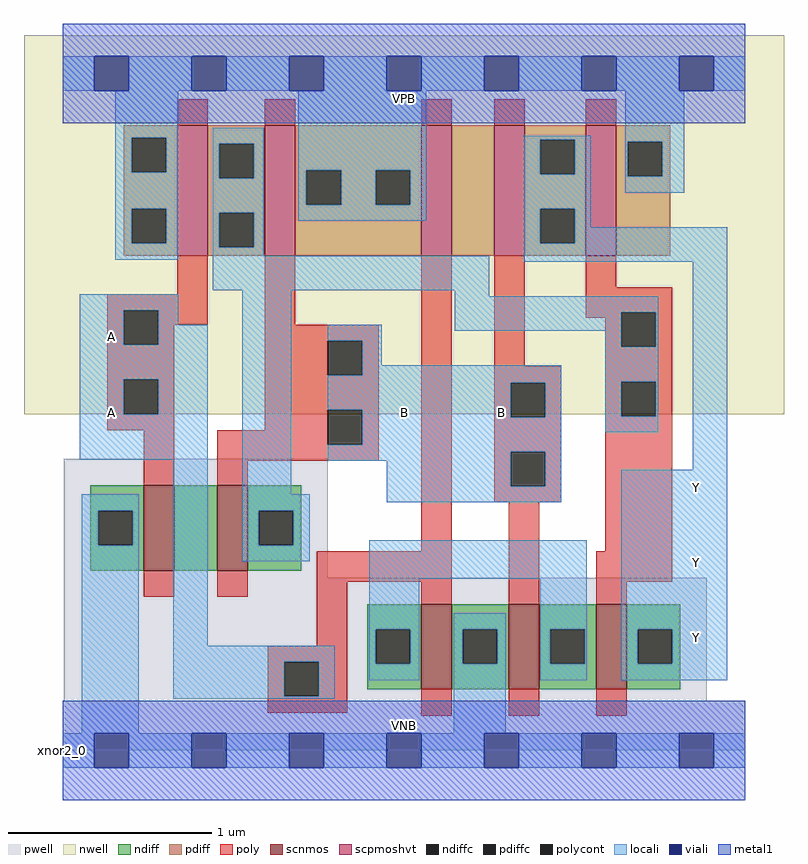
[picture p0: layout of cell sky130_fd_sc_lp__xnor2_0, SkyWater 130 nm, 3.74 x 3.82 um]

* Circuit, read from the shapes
.subckt sky130_fd_sc_lp__xnor2_0 A B VGND VNB VPB VPWR Y
XM1 n1 A VGND VNB sky130_fd_pr__nfet_01v8 w=0.42 l=0.15
XM2 n2 B n1 VNB sky130_fd_pr__nfet_01v8 w=0.42 l=0.15
XM3 VGND A n3 VNB sky130_fd_pr__nfet_01v8 w=0.42 l=0.15
XM4 n3 B VGND VNB sky130_fd_pr__nfet_01v8 w=0.42 l=0.15
XM5 Y n2 n3 VNB sky130_fd_pr__nfet_01v8 w=0.42 l=0.15
XM6 n2 A VPWR VPB sky130_fd_pr__pfet_01v8_hvt w=0.64 l=0.15
XM7 VPWR B n2 VPB sky130_fd_pr__pfet_01v8_hvt w=0.64 l=0.15
XM8 n4 A VPWR VPB sky130_fd_pr__pfet_01v8_hvt w=0.64 l=0.15
XM9 Y B n4 VPB sky130_fd_pr__pfet_01v8_hvt w=0.64 l=0.15
XM10 VPWR n2 Y VPB sky130_fd_pr__pfet_01v8_hvt w=0.64 l=0.15
.ends

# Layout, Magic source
magic
tech sky130A
magscale 1 2
<< nwell >>
rect -38 331 710 704
<< pwell >>
rect 1 170 261 287
rect 1 49 634 170
rect 0 0 672 49
<< scnmos >>
rect 80 177 110 261
rect 152 177 182 261
rect 353 60 383 144
rect 439 60 469 144
rect 525 60 555 144
<< scpmoshvt >>
rect 113 487 143 615
rect 199 487 229 615
rect 353 487 383 615
rect 425 487 455 615
rect 515 487 545 615
<< ndiff >>
rect 27 236 80 261
rect 27 202 35 236
rect 69 202 80 236
rect 27 177 80 202
rect 110 177 152 261
rect 182 236 235 261
rect 182 202 193 236
rect 227 202 235 236
rect 182 177 235 202
rect 300 119 353 144
rect 300 85 308 119
rect 342 85 353 119
rect 300 60 353 85
rect 383 119 439 144
rect 383 85 394 119
rect 428 85 439 119
rect 383 60 439 85
rect 469 119 525 144
rect 469 85 480 119
rect 514 85 525 119
rect 469 60 525 85
rect 555 119 608 144
rect 555 85 566 119
rect 600 85 608 119
rect 555 60 608 85
<< pdiff >>
rect 60 603 113 615
rect 60 569 68 603
rect 102 569 113 603
rect 60 533 113 569
rect 60 499 68 533
rect 102 499 113 533
rect 60 487 113 499
rect 143 597 199 615
rect 143 563 154 597
rect 188 563 199 597
rect 143 529 199 563
rect 143 495 154 529
rect 188 495 199 529
rect 143 487 199 495
rect 229 571 353 615
rect 229 537 240 571
rect 274 537 308 571
rect 342 537 353 571
rect 229 487 353 537
rect 383 487 425 615
rect 455 601 515 615
rect 455 567 470 601
rect 504 567 515 601
rect 455 533 515 567
rect 455 499 470 533
rect 504 499 515 533
rect 455 487 515 499
rect 545 599 598 615
rect 545 565 556 599
rect 590 565 598 599
rect 545 487 598 565
<< ndiffc >>
rect 35 202 69 236
rect 193 202 227 236
rect 308 85 342 119
rect 394 85 428 119
rect 480 85 514 119
rect 566 85 600 119
<< pdiffc >>
rect 68 569 102 603
rect 68 499 102 533
rect 154 563 188 597
rect 154 495 188 529
rect 240 537 274 571
rect 308 537 342 571
rect 470 567 504 601
rect 470 499 504 533
rect 556 565 590 599
<< poly >>
rect 113 615 143 641
rect 199 615 229 641
rect 353 615 383 641
rect 425 615 455 641
rect 515 615 545 641
rect 113 449 143 487
rect 44 433 143 449
rect 44 399 60 433
rect 94 419 143 433
rect 199 419 229 487
rect 94 399 110 419
rect 44 365 110 399
rect 44 331 60 365
rect 94 331 110 365
rect 44 315 110 331
rect 199 403 311 419
rect 199 369 261 403
rect 295 369 311 403
rect 199 335 311 369
rect 199 315 261 335
rect 80 261 110 315
rect 152 301 261 315
rect 295 301 311 335
rect 152 285 311 301
rect 152 261 182 285
rect 353 196 383 487
rect 425 378 455 487
rect 515 456 545 487
rect 515 431 600 456
rect 515 426 550 431
rect 534 397 550 426
rect 584 397 600 431
rect 425 362 491 378
rect 425 328 441 362
rect 475 328 491 362
rect 425 294 491 328
rect 425 260 441 294
rect 475 260 491 294
rect 425 244 491 260
rect 534 363 600 397
rect 534 329 550 363
rect 584 329 600 363
rect 80 151 110 177
rect 152 151 182 177
rect 250 166 383 196
rect 250 103 280 166
rect 353 144 383 166
rect 439 144 469 244
rect 534 196 600 329
rect 525 166 600 196
rect 525 144 555 166
rect 202 87 280 103
rect 202 53 218 87
rect 252 53 280 87
rect 202 37 280 53
rect 353 34 383 60
rect 439 34 469 60
rect 525 34 555 60
<< polycont >>
rect 60 399 94 433
rect 60 331 94 365
rect 261 369 295 403
rect 261 301 295 335
rect 550 397 584 431
rect 441 328 475 362
rect 441 260 475 294
rect 550 329 584 363
rect 218 53 252 87
<< locali >>
rect 0 649 31 683
rect 65 649 127 683
rect 161 649 223 683
rect 257 649 319 683
rect 353 649 415 683
rect 449 649 511 683
rect 545 649 607 683
rect 641 649 672 683
rect 52 603 114 649
rect 52 569 68 603
rect 102 569 114 603
rect 52 533 114 569
rect 52 499 68 533
rect 102 499 114 533
rect 52 483 114 499
rect 148 597 198 613
rect 148 563 154 597
rect 188 563 198 597
rect 148 529 198 563
rect 148 495 154 529
rect 188 495 198 529
rect 232 571 358 649
rect 232 537 240 571
rect 274 537 308 571
rect 342 537 358 571
rect 232 521 358 537
rect 454 601 520 605
rect 454 567 470 601
rect 504 567 520 601
rect 454 533 520 567
rect 554 599 612 649
rect 554 565 556 599
rect 590 565 612 599
rect 554 549 612 565
rect 148 487 198 495
rect 454 499 470 533
rect 504 515 520 533
rect 504 499 654 515
rect 148 453 420 487
rect 454 481 654 499
rect 17 433 114 449
rect 17 399 60 433
rect 94 419 114 433
rect 94 399 143 419
rect 17 365 143 399
rect 17 331 60 365
rect 94 331 143 365
rect 17 286 143 331
rect 19 236 75 252
rect 19 202 35 236
rect 69 202 75 236
rect 19 17 75 202
rect 109 103 143 286
rect 177 252 225 453
rect 386 447 420 453
rect 386 431 586 447
rect 261 403 314 419
rect 386 413 550 431
rect 295 379 314 403
rect 534 397 550 413
rect 584 397 586 431
rect 295 369 491 379
rect 261 362 491 369
rect 261 335 441 362
rect 295 328 441 335
rect 475 328 491 362
rect 295 301 491 328
rect 534 363 586 397
rect 534 329 550 363
rect 584 329 586 363
rect 534 313 586 329
rect 261 294 491 301
rect 261 285 441 294
rect 319 260 441 285
rect 475 260 491 294
rect 620 276 654 481
rect 177 236 243 252
rect 319 244 491 260
rect 177 202 193 236
rect 227 202 243 236
rect 177 186 243 202
rect 302 169 516 207
rect 302 119 351 169
rect 109 87 268 103
rect 109 53 218 87
rect 252 53 268 87
rect 302 85 308 119
rect 342 85 351 119
rect 302 69 351 85
rect 385 119 436 135
rect 385 85 394 119
rect 428 85 436 119
rect 109 51 268 53
rect 385 17 436 85
rect 470 119 516 169
rect 470 85 480 119
rect 514 85 516 119
rect 470 69 516 85
rect 550 119 654 276
rect 550 85 566 119
rect 600 85 654 119
rect 550 69 654 85
rect 0 -17 31 17
rect 65 -17 127 17
rect 161 -17 223 17
rect 257 -17 319 17
rect 353 -17 415 17
rect 449 -17 511 17
rect 545 -17 607 17
rect 641 -17 672 17
<< viali >>
rect 31 649 65 683
rect 127 649 161 683
rect 223 649 257 683
rect 319 649 353 683
rect 415 649 449 683
rect 511 649 545 683
rect 607 649 641 683
rect 31 -17 65 17
rect 127 -17 161 17
rect 223 -17 257 17
rect 319 -17 353 17
rect 415 -17 449 17
rect 511 -17 545 17
rect 607 -17 641 17
<< metal1 >>
rect 0 683 672 715
rect 0 649 31 683
rect 65 649 127 683
rect 161 649 223 683
rect 257 649 319 683
rect 353 649 415 683
rect 449 649 511 683
rect 545 649 607 683
rect 641 649 672 683
rect 0 617 672 649
rect 0 17 672 49
rect 0 -17 31 17
rect 65 -17 127 17
rect 161 -17 223 17
rect 257 -17 319 17
rect 353 -17 415 17
rect 449 -17 511 17
rect 545 -17 607 17
rect 641 -17 672 17
rect 0 -49 672 -17
<< labels >>
flabel pwell s 0 0 672 49 0 FreeSans 200 0 0 0 VNB
port 4 nsew ground bidirectional
flabel nwell s 0 617 672 666 0 FreeSans 200 0 0 0 VPB
port 5 nsew power bidirectional
rlabel comment s 0 0 0 0 4 xnor2_0
flabel metal1 s 0 617 672 666 0 FreeSans 340 0 0 0 VPWR
port 6 nsew power bidirectional
flabel metal1 s 0 0 672 49 0 FreeSans 340 0 0 0 VGND
port 3 nsew ground bidirectional
flabel locali s 319 316 353 350 0 FreeSans 340 0 0 0 B
port 2 nsew signal input
flabel locali s 415 316 449 350 0 FreeSans 340 0 0 0 B
port 2 nsew signal input
flabel locali s 607 94 641 128 0 FreeSans 340 0 0 0 Y
port 7 nsew signal output
flabel locali s 607 168 641 202 0 FreeSans 340 0 0 0 Y
port 7 nsew signal output
flabel locali s 607 242 641 276 0 FreeSans 340 0 0 0 Y
port 7 nsew signal output
flabel locali s 31 316 65 350 0 FreeSans 340 0 0 0 A
port 1 nsew signal input
flabel locali s 31 390 65 424 0 FreeSans 340 0 0 0 A
port 1 nsew signal input
<< properties >>
string LEFsite unit
string LEFclass CORE
string FIXED_BBOX 0 0 672 666
string GDS_FILE $PDKPATH/libs.ref/sky130_fd_sc_lp/gds/sky130_fd_sc_lp.gds
string LEFsymmetry X Y R90
string GDS_END 4359994
string GDS_START 4353578
<< end >>
